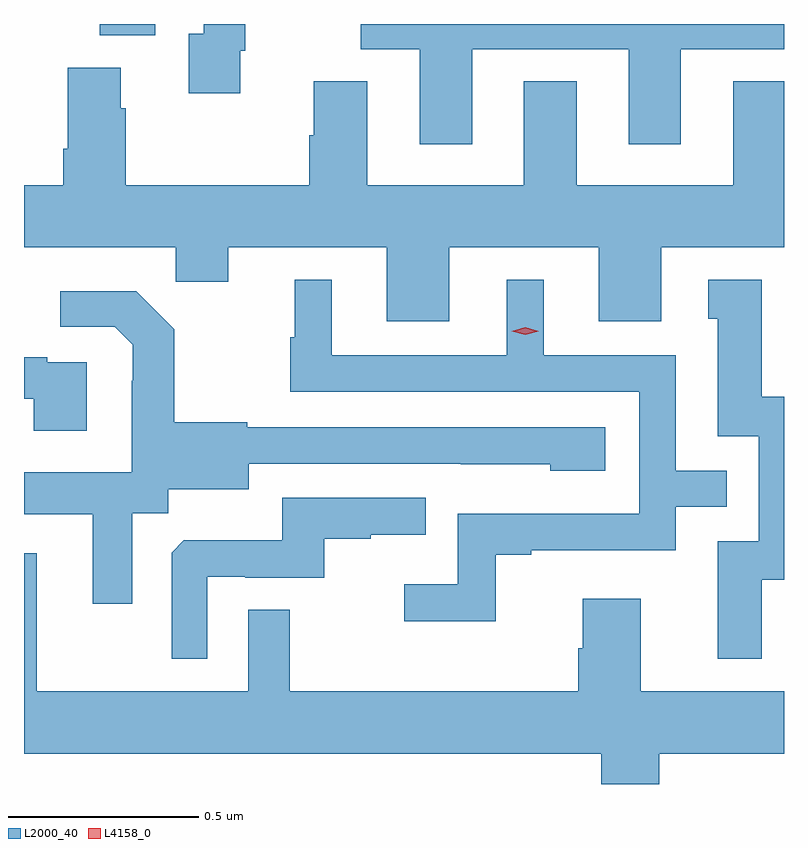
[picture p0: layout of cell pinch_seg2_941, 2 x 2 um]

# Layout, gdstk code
import gdstk
lib = gdstk.Library(unit=1e-6, precision=1e-09)
def R(c, l, rs):  # rectangles x0, y0, x1, y1
    for r in rs: c.add(gdstk.rectangle(r[:2], r[2:], *l))
def P(c, l, *ps):  # polygons
    for p in ps: c.add(gdstk.Polygon(p, *l))
L2000_40 = (2000, 40)
L4158_0 = (4158, 0)

pinch_seg2_941 = lib.new_cell('pinch_seg2_941')
R(pinch_seg2_941, L2000_40, [(492.125,656.186,492.271,656.216)])
P(pinch_seg2_941, L2000_40, [(492.495,656.146),(492.508,656.146),(492.508,656.216),(492.399,656.216),(492.399,656.19),(492.359,656.19),(492.359,656.034),(492.495,656.034)],
  [(493.105,656.15),(493.517,656.15),(493.517,655.899),(493.654,655.899),(493.654,656.15),(493.926,656.15),(493.926,656.216),(492.812,656.216),(492.812,656.15),(492.968,656.15),(492.968,655.899),(493.105,655.899)],
  [(493.045,655.628),(493.439,655.628),(493.439,655.434),(493.603,655.434),(493.603,655.628),(493.926,655.628),(493.926,656.065),(493.793,656.065),(493.793,655.792),(493.381,655.792),(493.381,656.065),(493.241,656.065),(493.241,655.792),(492.829,655.792),(492.829,656.065),(492.689,656.065),(492.689,655.923),(492.677,655.923),(492.677,655.792),(492.194,655.792),(492.194,655.994),(492.181,655.994),(492.181,656.101),(492.041,656.101),(492.041,655.888),(492.029,655.888),(492.029,655.792),(491.926,655.792),(491.926,655.628),(492.325,655.628),(492.325,655.538),(492.463,655.538),(492.463,655.628),(492.881,655.628),(492.881,655.434),(493.045,655.434)],
  [(493.167,654.819),(493.261,654.819),(493.261,654.831),(493.641,654.831),(493.641,654.945),(493.775,654.945),(493.775,655.041),(493.641,655.041),(493.641,655.344),(493.294,655.344),(493.294,655.543),(493.196,655.543),(493.196,655.344),(492.736,655.344),(492.736,655.543),(492.638,655.543),(492.638,655.392),(492.627,655.392),(492.627,655.248),(493.545,655.248),(493.545,654.927),(493.068,654.927),(493.068,654.742),(492.927,654.742),(492.927,654.644),(493.167,654.644)],
  [(493.867,654.754),(493.926,654.754),(493.926,655.235),(493.867,655.235),(493.867,655.543),(493.727,655.543),(493.727,655.44),(493.751,655.44),(493.751,655.131),(493.86,655.131),(493.86,654.855),(493.751,654.855),(493.751,654.546),(493.867,654.546)],
  [(492.211,654.928),(492.306,654.928),(492.306,654.992),(492.517,654.992),(492.517,655.059),(493.075,655.059),(493.075,655.058),(493.311,655.058),(493.311,655.04),(493.456,655.04),(493.456,655.155),(492.513,655.155),(492.513,655.168),(492.321,655.168),(492.321,655.413),(492.221,655.513),(492.021,655.513),(492.021,655.419),(492.165,655.419),(492.212,655.372),(492.212,655.277),(492.21,655.277),(492.21,655.036),(491.926,655.036),(491.926,654.926),(492.107,654.926),(492.107,654.69),(492.211,654.69)],
  [(492.091,655.326),(491.987,655.326),(491.987,655.339),(491.926,655.339),(491.926,655.23),(491.951,655.23),(491.951,655.146),(492.091,655.146)],
  [(492.408,654.762),(492.508,654.762),(492.508,654.759),(492.716,654.759),(492.716,654.861),(492.839,654.861),(492.839,654.872),(492.983,654.872),(492.983,654.969),(492.606,654.969),(492.606,654.857),(492.347,654.857),(492.315,654.825),(492.315,654.545),(492.408,654.545)],
  [(493.598,654.296),(493.926,654.296),(493.926,654.46),(493.549,654.46),(493.549,654.703),(493.397,654.703),(493.397,654.573),(493.385,654.573),(493.385,654.46),(492.625,654.46),(492.625,654.674),(492.516,654.674),(492.516,654.46),(491.959,654.46),(491.959,654.823),(491.926,654.823),(491.926,654.296),(493.445,654.296),(493.445,654.216),(493.598,654.216)])
P(pinch_seg2_941, L4158_0, [(493.245,655.398),(493.209,655.407),(493.209,655.408),(493.209,655.408),(493.245,655.418),(493.281,655.408),(493.281,655.408),(493.281,655.407)])

lib.write_gds('pinch_seg2_941.gds')
